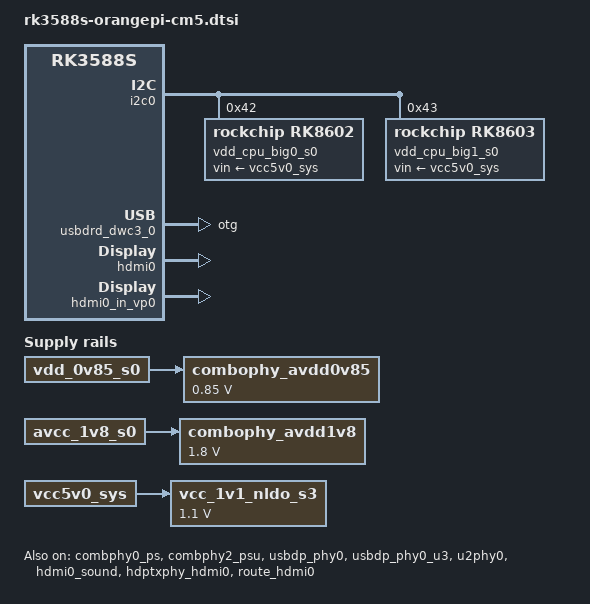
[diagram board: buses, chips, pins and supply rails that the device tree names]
// SPDX-License-Identifier: (GPL-2.0+ OR MIT)
/*
 * Copyright (c) 2021 Rockchip Electronics Co., Ltd.
 *
 */

#include "dt-bindings/usb/pd.h"
#include "rk3588s.dtsi"
#include "rk3588s-evb.dtsi"
#include "rk3588-rk806-single.dtsi"

/ {
	combophy_avdd0v85: combophy-avdd0v85 {
		compatible = "regulator-fixed";
		regulator-name = "combophy_avdd0v85";
		regulator-boot-on;
		regulator-always-on;
		regulator-min-microvolt = <850000>;
		regulator-max-microvolt = <850000>;
		vin-supply = <&vdd_0v85_s0>;
	};

	combophy_avdd1v8: combophy-avdd1v8 {
		compatible = "regulator-fixed";
		regulator-name = "combophy_avdd1v8";
		regulator-boot-on;
		regulator-always-on;
		regulator-min-microvolt = <1800000>;
		regulator-max-microvolt = <1800000>;
		vin-supply = <&avcc_1v8_s0>;
	};

	vcc_1v1_nldo_s3: vcc-1v1-nldo-s3 {
		compatible = "regulator-fixed";
		regulator-name = "vcc_1v1_nldo_s3";
		regulator-always-on;
		regulator-boot-on;
		regulator-min-microvolt = <1100000>;
		regulator-max-microvolt = <1100000>;
		vin-supply = <&vcc5v0_sys>;
	};
};

&combphy0_ps {
	status = "okay";
};

&combphy2_psu {
        status = "okay";
};

&dp0 {
	status = "disabled";
};

&dp0_in_vp2 {
	status = "disabled";
};

&dp0_sound{
	status = "disabled";
};

&spdif_tx2{
	status = "disabled";
};

&i2c0 {
	status = "okay";
	pinctrl-names = "default";
	pinctrl-0 = <&i2c0m2_xfer>;

	vdd_cpu_big0_s0: vdd_cpu_big0_mem_s0: rk8602@42 {
		compatible = "rockchip,rk8602";
		reg = <0x42>;
		vin-supply = <&vcc5v0_sys>;
		regulator-compatible = "rk860x-reg";
		regulator-name = "vdd_cpu_big0_s0";
		regulator-min-microvolt = <550000>;
		regulator-max-microvolt = <1050000>;
		regulator-ramp-delay = <2300>;
		rockchip,suspend-voltage-selector = <1>;
		regulator-boot-on;
		regulator-always-on;
		regulator-state-mem {
			regulator-off-in-suspend;
		};
	};

	vdd_cpu_big1_s0: vdd_cpu_big1_mem_s0: rk8603@43 {
		compatible = "rockchip,rk8603";
		reg = <0x43>;
		vin-supply = <&vcc5v0_sys>;
		regulator-compatible = "rk860x-reg";
		regulator-name = "vdd_cpu_big1_s0";
		regulator-min-microvolt = <550000>;
		regulator-max-microvolt = <1050000>;
		regulator-ramp-delay = <2300>;
		rockchip,suspend-voltage-selector = <1>;
		regulator-boot-on;
		regulator-always-on;
		regulator-state-mem {
			regulator-off-in-suspend;
		};
	};
};

&pdm0 {
	status = "disabled";
};

&route_edp0 {
	status = "disabled";
};

&usbdp_phy0 {
        status = "okay";
        rockchip,dp-lane-mux = <2 3>;
};

&usbdp_phy0_dp {
        status = "disbaled";
};

&usbdp_phy0_u3 {
        status = "okay";
};

&u2phy2_host {
};

&u2phy3_host {
};

&uart9 {
	status = "disabled";
	pinctrl-names = "default";
	pinctrl-0 = <&uart9m2_xfer &uart9m2_ctsn>;
};

&usbdrd_dwc3_0 {
	status = "okay";
	dr_mode = "otg";
	extcon = <&u2phy0>;
};

&u2phy0 {
        status = "okay";
};

&usbhost3_0 {
	status = "disabled";
};

&usbhost_dwc3_0 {
	status = "disabled";
};

&usbhost3_0 {
        status = "disabled";
};

&hdmi0 {
	enable-gpios = <&gpio4 RK_PB5 GPIO_ACTIVE_HIGH>;
	cec-enable;
	status = "okay";
};

&hdmi0_in_vp0 {
        status = "okay";
};

&hdmi0_sound {
        status = "okay";
};

&hdptxphy_hdmi0 {
        status = "okay";
};

&route_hdmi0{
        status = "okay";
};

/* vp0 & vp3 are not used on this board */
&vp0 {
        rockchip,plane-mask = <(1 << ROCKCHIP_VOP2_CLUSTER0 | 1 << ROCKCHIP_VOP2_ESMART0)>;
        rockchip,primary-plane = <ROCKCHIP_VOP2_ESMART0>;
};

&vp1 {
        rockchip,plane-mask = <(1 << ROCKCHIP_VOP2_CLUSTER1 | 1 << ROCKCHIP_VOP2_ESMART1)>;
        rockchip,primary-plane = <ROCKCHIP_VOP2_ESMART1>;
};

&vp2 {
        rockchip,plane-mask = <(1 << ROCKCHIP_VOP2_CLUSTER2 | 1 << ROCKCHIP_VOP2_ESMART2)>;
        rockchip,primary-plane = <ROCKCHIP_VOP2_ESMART2>;
};

&vp3 {
        rockchip,plane-mask = <(1 << ROCKCHIP_VOP2_CLUSTER3 | 1 << ROCKCHIP_VOP2_ESMART3)>;
        rockchip,primary-plane = <ROCKCHIP_VOP2_ESMART3>;
};
